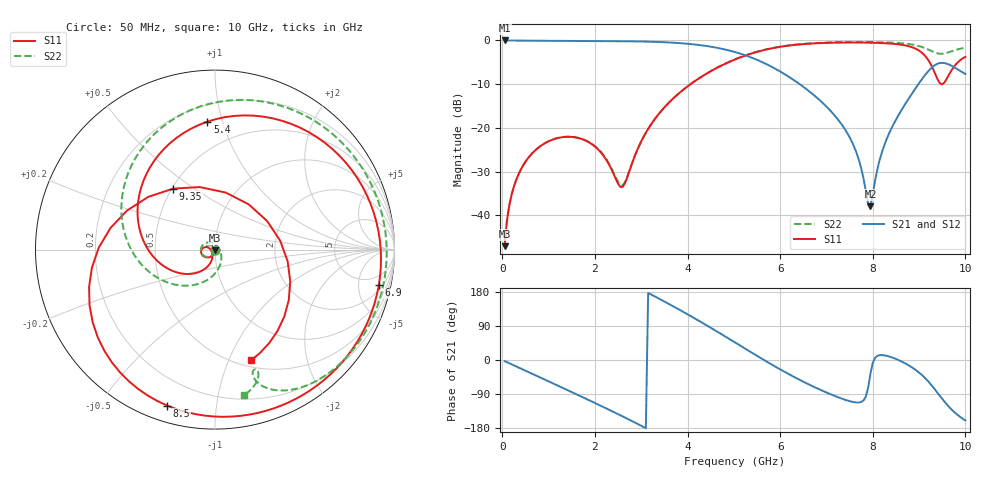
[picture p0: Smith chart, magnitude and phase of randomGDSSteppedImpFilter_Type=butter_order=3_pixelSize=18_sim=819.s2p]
! freq	dB(S11)	phase(S11)	dB(S12)	phase(S12)
!  dB(S21)	phase(S21)	dB(S22)	phase(S22)
!S-par simulation data
#  GHz  S  DB  R 50
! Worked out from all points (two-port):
!   200 points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, 50 MHz to 10 GHz, reference 50 ohm
!   highest |S21| = -0.01 dB at 50 MHz (marker M1); lowest = -38.0 dB at 7.95 GHz (marker M2)
!   |S21| within 3 dB of the highest: start of sweep to 5.135 GHz
!   lowest |S11| = -47.0 dB at 50 MHz (marker M3), VSWR 1.01, Z = 50 - j0.445 ohm
!   |S11| at or under -10 dB: start of sweep to 4.065 GHz; 9.489282 GHz to 9.505781 GHz (16.5 MHz wide, 0.174 % of centre)
!   |S22| runs from -47.1 to -0.4 dB; largest |S21 - S12| = 0
!   S11 on the Smith chart (normalised r, x): 50 MHz: 1.00, -0.01; 5.4 GHz: 0.31, +0.89; 6.9 GHz: 2.74, -8.47; 8.5 GHz: 0.07, -0.74; 9.35 GHz: 0.51, +0.42; 10 GHz: 0.57, -1.21
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0.05  -47.04 -87.7  -0.01 -2.9  -0.01 -2.9  -47.05 -87.8
0.2  -35.33 -99.7  -0.02 -11.3  -0.02 -11.3  -35.33 -100.7
0.55  -27.01 -119.8  -0.05 -31.0  -0.05 -31.0  -27.01 -122.9
1.2  -22.33 -154.6  -0.11 -67.6  -0.11 -67.6  -22.30 -162.8
1.75  -22.69 178.2  -0.14 -98.9  -0.14 -98.9  -22.63 161.2
2.6  -33.49 -147.1  -0.18 -148.9  -0.18 -148.9  -33.09 28.8
3.4  -16.53 -124.5  -0.37 160.9  -0.37 160.9  -16.55 -95.7
4.25  -8.65 -179.1  -1.04 103.1  -1.04 103.1  -8.65 -157.1
5.05  -4.24 120.7  -2.73 44.6  -2.73 44.6  -4.22 145.6
5.4  -2.93 93.4  -4.00 18.5  -4.00 18.5  -2.90 120.5
6.05  -1.38 44.3  -7.41 -28.1  -7.41 -28.1  -1.34 76.1
6.7  -0.70 0.2  -12.26 -69.2  -12.26 -69.2  -0.64 36.9
6.9  -0.59 -12.2  -14.11 -80.4  -14.11 -80.4  -0.53 26.1
7.55  -0.47 -50.0  -23.20 -110.1  -23.20 -110.1  -0.37 -5.7
7.95  -0.52 -72.5  -37.96 -36.1  -37.96 -36.1  -0.38 -23.1
8.35  -0.70 -96.8  -21.32 9.4  -21.32 9.4  -0.47 -39.5
8.5  -0.83 -107.1  -18.13 2.8  -18.13 2.8  -0.55 -45.6
8.8  -1.39 -132.4  -12.90 -15.9  -12.90 -15.9  -0.85 -57.7
9.05  -2.71 -163.4  -9.03 -38.4  -9.03 -38.4  -1.45 -67.5
9.35  -7.70 124.4  -5.59 -78.9  -5.59 -78.9  -2.81 -73.2
9.65  -7.75 -9.1  -5.53 -124.2  -5.53 -124.2  -2.66 -70.8
10  -3.76 -71.9  -7.69 -159.6  -7.69 -159.6  -1.66 -78.8
